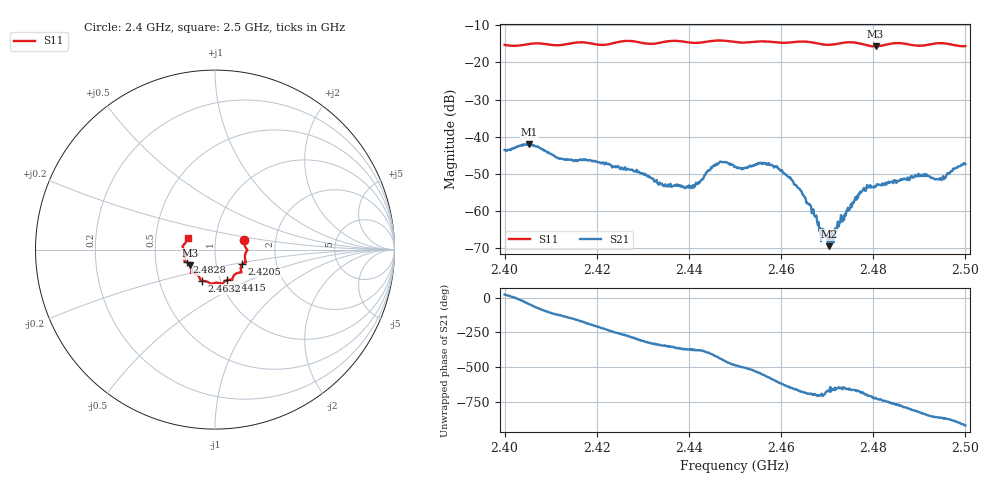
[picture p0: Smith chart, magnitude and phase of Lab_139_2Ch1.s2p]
# Hz S RI R 50
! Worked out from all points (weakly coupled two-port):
!   601 points, 2.4 GHz to 2.5 GHz, reference 50 ohm
!   highest |S21| = -42.01 dB at 2.4053 GHz (marker M1); lowest = -69.5 dB at 2.4703 GHz (marker M2)
!   lowest |S11| = -15.7 dB at 2.4805 GHz (marker M3), VSWR 1.39, Z = 37.3 - j6.7 ohm
!   |S11| at or under -10 dB: start of sweep to end of sweep
!   S12 and S22 are empty: the file has one direction only
!   S11 on the Smith chart (normalised r, x): 2.4 GHz: 1.38, +0.15; 2.4205 GHz: 1.34, -0.22; 2.4415 GHz: 1.07, -0.38; 2.4632 GHz: 0.82, -0.29; 2.4828 GHz: 0.72, -0.10; 2.5 GHz: 0.73, +0.10
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2.4e9  0.1639 0.0516  0.00613 0.00249  0 0  0 0
2.405333e9  0.1769 0.00286  0.00546 -0.00575  0 0  0 0
2.411667e9  0.167 -0.0333  -0.00294 -0.00427  0 0  0 0
2.416667e9  0.1729 -0.0699  -0.00475 -0.000929  0 0  0 0
2.4205e9  0.1521 -0.0816  -0.00385 0.00234  0 0  0 0
2.428833e9  0.1388 -0.1273  0.00169 0.00285  0 0  0 0
2.433333e9  0.1006 -0.1514  0.00217 0.000943  0 0  0 0
2.4415e9  0.0655 -0.1707  0.00228 -0.000708  0 0  0 0
2.4465e9  0.0406 -0.193  0.00131 -0.00422  0 0  0 0
2.45e9  0.0244 -0.1863  -0.00229 -0.00322  0 0  0 0
2.4575e9  -0.0286 -0.1875  -0.00338 0.00252  0 0  0 0
2.463167e9  -0.0733 -0.174  0.00102 0.00199  0 0  0 0
2.466667e9  -0.0821 -0.167  0.000842 0.000395  0 0  0 0
2.468333e9  -0.0871 -0.1548  0.000511 0.000151  0 0  0 0
2.470333e9  -0.1021 -0.1387  0.000202 0.000267  0 0  0 0
2.477333e9  -0.1314 -0.1203  0.0013 0.0012  0 0  0 0
2.4805e9  -0.139 -0.0874  0.00211 3.83e-05  0 0  0 0
2.482833e9  -0.1587 -0.07  0.00204 -0.000965  0 0  0 0
2.483333e9  -0.1625 -0.0681  0.00218 -0.00118  0 0  0 0
2.489667e9  -0.1654 -0.0266  -0.000343 -0.00303  0 0  0 0
2.4945e9  -0.1807 0.0175  -0.00221 -0.00166  0 0  0 0
2.5e9  -0.1527 0.0645  -0.00406 0.00127  0 0  0 0
